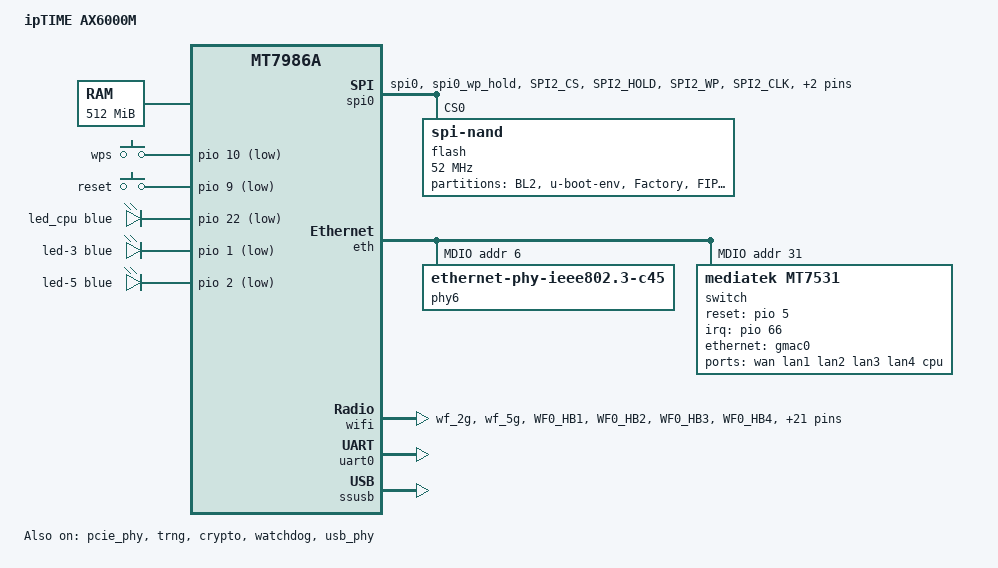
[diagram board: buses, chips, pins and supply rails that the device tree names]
// SPDX-License-Identifier: GPL-2.0-only OR MIT

/dts-v1/;
#include <dt-bindings/gpio/gpio.h>
#include <dt-bindings/input/input.h>
#include <dt-bindings/leds/common.h>
#include <dt-bindings/pinctrl/mt65xx.h>

#include "mt7986a.dtsi"

/ {
	model = "ipTIME AX6000M";
	compatible = "iptime,ax6000m", "mediatek,mt7986a";

	aliases {
		serial0 = &uart0;
		led-boot = &led_cpu;
		led-failsafe = &led_cpu;
		led-running = &led_cpu;
		led-upgrade = &led_cpu;
		label-mac-device = &gmac0;
	};

	chosen {
		stdout-path = "serial0:115200n8";
	};

	memory@40000000 {
		reg = <0 0x40000000 0 0x20000000>;
		device_type = "memory";
	};

	gpio-keys {
		compatible = "gpio-keys";

		button-0 {
			label = "wps";
			gpios = <&pio 10 GPIO_ACTIVE_LOW>;
			linux,code = <KEY_WPS_BUTTON>;
			debounce-interval = <60>;
		};

		button-1 {
			label = "reset";
			gpios = <&pio 9 GPIO_ACTIVE_LOW>;
			linux,code = <KEY_RESTART>;
			debounce-interval = <60>;
		};
	};

	leds {
		compatible = "gpio-leds";

		led_cpu: led-0 {
			color = <LED_COLOR_ID_BLUE>;
			function = LED_FUNCTION_CPU;
			gpios = <&pio 22 GPIO_ACTIVE_LOW>;
			default-state = "on";
		};

		led-3 {
			color = <LED_COLOR_ID_BLUE>;
			function = LED_FUNCTION_WLAN_2GHZ;
			gpios = <&pio 1 GPIO_ACTIVE_LOW>;
			linux,default-trigger = "phy0tpt";
		};

		led-5 {
			color = <LED_COLOR_ID_BLUE>;
			function = LED_FUNCTION_WLAN_5GHZ;
			gpios = <&pio 2 GPIO_ACTIVE_LOW>;
			linux,default-trigger = "phy1tpt";
		};
	};

};

&pio {
	spi_flash_pins: spi-flash-pins-33-to-38 {
		mux {
			function = "spi";
			groups = "spi0", "spi0_wp_hold";
		};

		conf-pu {
			pins = "SPI2_CS", "SPI2_HOLD", "SPI2_WP";
			drive-strength = <MTK_DRIVE_4mA>;
			bias-pull-up = <MTK_PUPD_SET_R1R0_11>;
		};

		conf-pd {
			pins = "SPI2_CLK", "SPI2_MOSI", "SPI2_MISO";
			drive-strength = <MTK_DRIVE_4mA>;
			bias-pull-down = <MTK_PUPD_SET_R1R0_11>;
		};
	};

	pcie_pins: pcie-pins {
		mux {
			function = "pcie";
			groups = "pcie_pereset";
		};
	};

	wf_2g_5g_pins: wf_2g_5g-pins {
		mux {
			function = "wifi";
			groups = "wf_2g", "wf_5g";
		};
		conf {
			pins = "WF0_HB1", "WF0_HB2", "WF0_HB3", "WF0_HB4",
				   "WF0_HB0", "WF0_HB0_B", "WF0_HB5", "WF0_HB6",
				   "WF0_HB7", "WF0_HB8", "WF0_HB9", "WF0_HB10",
				   "WF0_TOP_CLK", "WF0_TOP_DATA", "WF1_HB1",
				   "WF1_HB2", "WF1_HB3", "WF1_HB4", "WF1_HB0",
				   "WF1_HB5", "WF1_HB6", "WF1_HB7", "WF1_HB8",
				   "WF1_TOP_CLK", "WF1_TOP_DATA";
			drive-strength = <MTK_DRIVE_4mA>;
		};
	};
};

&spi0 {
	pinctrl-names = "default";
	pinctrl-0 = <&spi_flash_pins>;
	status = "okay";

	flash@0 {
		compatible = "spi-nand";
		reg = <0>;

		spi-max-frequency = <52000000>;
		spi-tx-buswidth = <4>;
		spi-rx-buswidth = <4>;

		partitions {
			compatible = "fixed-partitions";
			#address-cells = <1>;
			#size-cells = <1>;

			partition@0 {
				label = "BL2";
				reg = <0x0 0x100000>;
				read-only;
			};

			partition@100000 {
				label = "u-boot-env";
				reg = <0x100000 0x80000>;
			};

			partition@180000 {
				label = "Factory";
				reg = <0x180000 0x200000>;
				read-only;

				nvmem-layout {
					compatible = "fixed-layout";
					#address-cells = <1>;
					#size-cells = <1>;

					eeprom_factory_0: eeprom@0 {
						reg = <0x0 0x1000>;
					};

					macaddr_factory_4: macaddr@4 {
						compatible = "mac-base";
						reg = <0x4 0x6>;
						#nvmem-cell-cells = <1>;
					};

				};
			};

			partition@380000 {
				label = "FIP";
				reg = <0x380000 0x200000>;
				read-only;
			};

			partition@580000 {
				label = "ubi";
				reg = <0x580000 0x6e00000>;
			};
		};
	};
};

&eth {
	status = "okay";

	gmac0: mac@0 {
		compatible = "mediatek,eth-mac";
		reg = <0>;
		phy-mode = "2500base-x";

		nvmem-cell-names = "mac-address";
		nvmem-cells = <&macaddr_factory_4 0>;

		fixed-link {
			speed = <2500>;
			full-duplex;
			pause;
		};
	};

	gmac1: mac@1 {
		compatible = "mediatek,eth-mac";
		reg = <1>;
		phy-mode = "2500base-x";
		phy-handle = <&phy6>;

		nvmem-cell-names = "mac-address";
		nvmem-cells = <&macaddr_factory_4 1>;
	};

	mdio: mdio-bus {
		#address-cells = <1>;
		#size-cells = <0>;
		reset-gpios = <&pio 6 GPIO_ACTIVE_LOW>;
		reset-delay-us = <50000>;
		reset-post-delay-us = <20000>;
	};
};

&mdio {
	phy6: phy@6 {
		compatible = "ethernet-phy-ieee802.3-c45";
		reg = <6>;

		leds {
			#address-cells = <1>;
			#size-cells = <0>;

			led@0 {
				reg = <0>;
				color = <LED_COLOR_ID_BLUE>;
				function = LED_FUNCTION_WAN;
			};
		};
	};

	switch@1f {
		compatible = "mediatek,mt7531";
		reg = <0x1f>;
		reset-gpios = <&pio 5 GPIO_ACTIVE_HIGH>;
		reset-assert-us = <10000>;
		reset-deassert-us = <10000>;

		interrupt-controller;
		#interrupt-cells = <1>;
		interrupt-parent = <&pio>;
		interrupts = <66 IRQ_TYPE_LEVEL_HIGH>;

		ports {
			#address-cells = <1>;
			#size-cells = <0>;

			port@0 { reg = <0>; label = "wan"; };
			port@1 { reg = <1>; label = "lan1"; };
			port@2 { reg = <2>; label = "lan2"; };
			port@3 { reg = <3>; label = "lan3"; };
			port@4 { reg = <4>; label = "lan4"; };

			port@6 {
				reg = <6>;
				label = "cpu";
				ethernet = <&gmac0>;
				phy-mode = "2500base-x";

				fixed-link {
					speed = <2500>;
					full-duplex;
					pause;
				};
			};
		};
	};
};

&wifi {
	nvmem-cells = <&eeprom_factory_0>;
	nvmem-cell-names = "eeprom";
	pinctrl-names = "default";
	pinctrl-0 = <&wf_2g_5g_pins>;
	status = "okay";
};

&pcie_phy {
	status = "okay";
};

&trng {
	status = "okay";
};

&crypto {
	status = "okay";
};

&uart0 {
	status = "okay";
};

&watchdog {
	status = "okay";
};

&ssusb {
	status = "okay";
};

&usb_phy {
	status = "okay";
};
